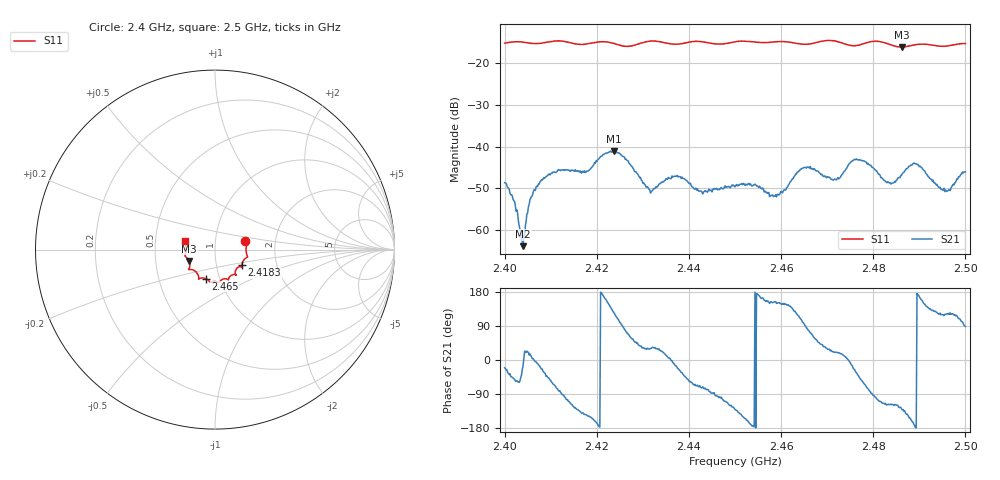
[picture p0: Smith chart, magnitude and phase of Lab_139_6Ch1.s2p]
# Hz S RI R 50
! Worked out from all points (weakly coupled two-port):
!   601 points, 2.4 GHz to 2.5 GHz, reference 50 ohm
!   highest |S21| = -41.06 dB at 2.4237 GHz (marker M1); lowest = -64.0 dB at 2.404 GHz (marker M2)
!   lowest |S11| = -16.1 dB at 2.4862 GHz (marker M3), VSWR 1.37, Z = 37.2 - j4.83 ohm
!   |S11| at or under -10 dB: start of sweep to end of sweep
!   S12 and S22 are empty: the file has one direction only
!   S11 on the Smith chart (normalised r, x): 2.4 GHz: 1.40, +0.14; 2.4183 GHz: 1.33, -0.24; 2.465 GHz: 0.86, -0.28; 2.5 GHz: 0.71, +0.07
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2.4e9  0.1687 0.0471  0.00344 -0.00129  0 0  0 0
2.404e9  0.1783 0.0273  0.000611 -0.00017  0 0  0 0
2.405833e9  0.1737 0.0105  0.00249 0.00037  0 0  0 0
2.408e9  0.1744 -0.0158  0.00365 -0.00159  0 0  0 0
2.416667e9  0.1546 -0.0682  -0.00369 -0.00306  0 0  0 0
2.418333e9  0.1502 -0.0867  -0.00441 -0.00275  0 0  0 0
2.423667e9  0.1456 -0.0956  -0.00514 0.0072  0 0  0 0
2.431333e9  0.1174 -0.1424  0.0027 0.00148  0 0  0 0
2.433333e9  0.1173 -0.1408  0.00302 0.00156  0 0  0 0
2.437167e9  0.0894 -0.1446  0.00426 -0.00115  0 0  0 0
2.442667e9  0.0728 -0.1675  0.000856 -0.00277  0 0  0 0
2.45e9  0.0261 -0.1798  -0.00213 -0.00249  0 0  0 0
2.458833e9  -0.0223 -0.1804  -0.00237 0.00115  0 0  0 0
2.465e9  -0.0525 -0.1615  -0.00051 0.00559  0 0  0 0
2.466667e9  -0.0711 -0.1577  0.00208 0.00503  0 0  0 0
2.471667e9  -0.0907 -0.1625  0.00383 0.00138  0 0  0 0
2.476833e9  -0.1196 -0.1145  0.00508 -0.00472  0 0  0 0
2.483333e9  -0.1411 -0.0966  -0.00165 -0.00331  0 0  0 0
2.486167e9  -0.1438 -0.0634  -0.00289 -0.00348  0 0  0 0
2.489167e9  -0.163 -0.0402  -0.00619 -0.00018  0 0  0 0
2.496e9  -0.1608 0.0158  -0.00152 0.00245  0 0  0 0
2.5e9  -0.1666 0.0467  0.000152 0.00497  0 0  0 0
